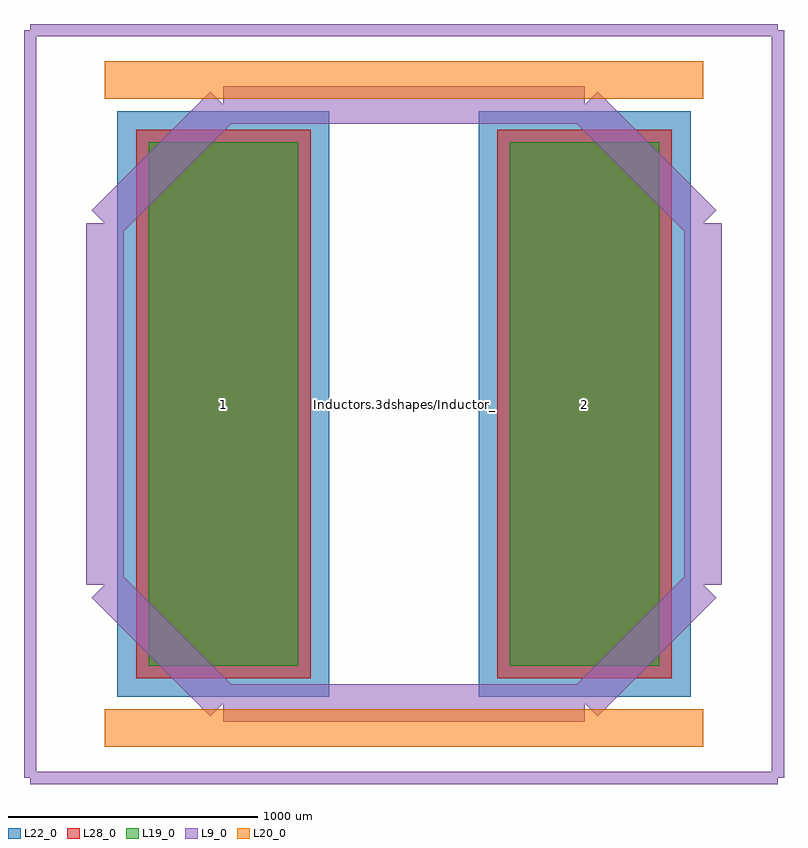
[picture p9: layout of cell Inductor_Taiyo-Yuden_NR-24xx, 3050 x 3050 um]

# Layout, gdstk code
import gdstk
lib = gdstk.Library(unit=1e-6, precision=1e-09)
def R(c, l, rs):  # rectangles x0, y0, x1, y1
    for r in rs: c.add(gdstk.rectangle(r[:2], r[2:], *l))
L9_0 = (9, 0)
L19_0 = (19, 0)
L20_0 = (20, 0)
L22_0 = (22, 0)
L28_0 = (28, 0)

inductor_taiyo_yuden_nr_ = lib.new_cell('Inductor_Taiyo-Yuden_NR-24xx')
R(inductor_taiyo_yuden_nr_, L19_0, [(-1025,-1050,-425,1050), (425,-1050,1025,1050)])
R(inductor_taiyo_yuden_nr_, L22_0, [(-1150,-1175,-300,1175), (300,-1175,1150,1175)])
R(inductor_taiyo_yuden_nr_, L28_0, [(-1075,-1100,-375,1100), (375,-1100,1075,1100)])
inductor_taiyo_yuden_nr_.add(gdstk.FlexPath([(1500,1500),(-1500,1500)], 50, ends="flush", simple_path=True, layer=9, datatype=0))  # L9_0
inductor_taiyo_yuden_nr_.add(gdstk.FlexPath([(1500,-1500),(1500,1500)], 50, ends="flush", simple_path=True, layer=9, datatype=0))  # L9_0
inductor_taiyo_yuden_nr_.add(gdstk.FlexPath([(-1500,-1500),(1500,-1500)], 50, ends="flush", simple_path=True, layer=9, datatype=0))  # L9_0
inductor_taiyo_yuden_nr_.add(gdstk.FlexPath([(-1500,1500),(-1500,-1500)], 50, ends="flush", simple_path=True, layer=9, datatype=0))  # L9_0
inductor_taiyo_yuden_nr_.add(gdstk.FlexPath([(-1200,-1300),(1200,-1300)], 149.998, ends="flush", simple_path=True, layer=20, datatype=0))  # L20_0
inductor_taiyo_yuden_nr_.add(gdstk.FlexPath([(-1200,1300),(1200,1300)], 149.998, ends="flush", simple_path=True, layer=20, datatype=0))  # L20_0
inductor_taiyo_yuden_nr_.add(gdstk.FlexPath([(-725,-1200),(0,-1200)], 149.998, ends="flush", simple_path=True, layer=9, datatype=0))  # L9_0
inductor_taiyo_yuden_nr_.add(gdstk.FlexPath([(-1200,-725),(-725,-1200)], 149.998, ends="flush", simple_path=True, layer=9, datatype=0))  # L9_0
inductor_taiyo_yuden_nr_.add(gdstk.FlexPath([(-1200,0),(-1200,-725)], 149.998, ends="flush", simple_path=True, layer=9, datatype=0))  # L9_0
inductor_taiyo_yuden_nr_.add(gdstk.FlexPath([(725,-1200),(0,-1200)], 149.998, ends="flush", simple_path=True, layer=9, datatype=0))  # L9_0
inductor_taiyo_yuden_nr_.add(gdstk.FlexPath([(1200,-725),(725,-1200)], 149.998, ends="flush", simple_path=True, layer=9, datatype=0))  # L9_0
inductor_taiyo_yuden_nr_.add(gdstk.FlexPath([(1200,0),(1200,-725)], 149.998, ends="flush", simple_path=True, layer=9, datatype=0))  # L9_0
inductor_taiyo_yuden_nr_.add(gdstk.FlexPath([(725,1200),(0,1200)], 149.998, ends="flush", simple_path=True, layer=9, datatype=0))  # L9_0
inductor_taiyo_yuden_nr_.add(gdstk.FlexPath([(1200,725),(725,1200)], 149.998, ends="flush", simple_path=True, layer=9, datatype=0))  # L9_0
inductor_taiyo_yuden_nr_.add(gdstk.FlexPath([(1200,0),(1200,725)], 149.998, ends="flush", simple_path=True, layer=9, datatype=0))  # L9_0
inductor_taiyo_yuden_nr_.add(gdstk.FlexPath([(-725,1200),(0,1200)], 149.998, ends="flush", simple_path=True, layer=9, datatype=0))  # L9_0
inductor_taiyo_yuden_nr_.add(gdstk.FlexPath([(-1200,725),(-725,1200)], 149.998, ends="flush", simple_path=True, layer=9, datatype=0))  # L9_0
inductor_taiyo_yuden_nr_.add(gdstk.FlexPath([(-1200,0),(-1200,725)], 149.998, ends="flush", simple_path=True, layer=9, datatype=0))  # L9_0
inductor_taiyo_yuden_nr_.add(gdstk.Label('Inductors.3dshapes/Inductor_Taiyo-Yuden_NR-24xx.wrl', (0,0), layer=12, texttype=0))
inductor_taiyo_yuden_nr_.add(gdstk.Label('2', (725,0), layer=28, texttype=0))
inductor_taiyo_yuden_nr_.add(gdstk.Label('1', (-725,0), layer=28, texttype=0))
inductor_taiyo_yuden_nr_.add(gdstk.Label('type', (0,-2700), layer=9, texttype=0))
inductor_taiyo_yuden_nr_.add(gdstk.Label('devicename', (0,2200), layer=9, texttype=0))

lib.write_gds('Inductor_Taiyo-Yuden_NR-24xx.gds')
